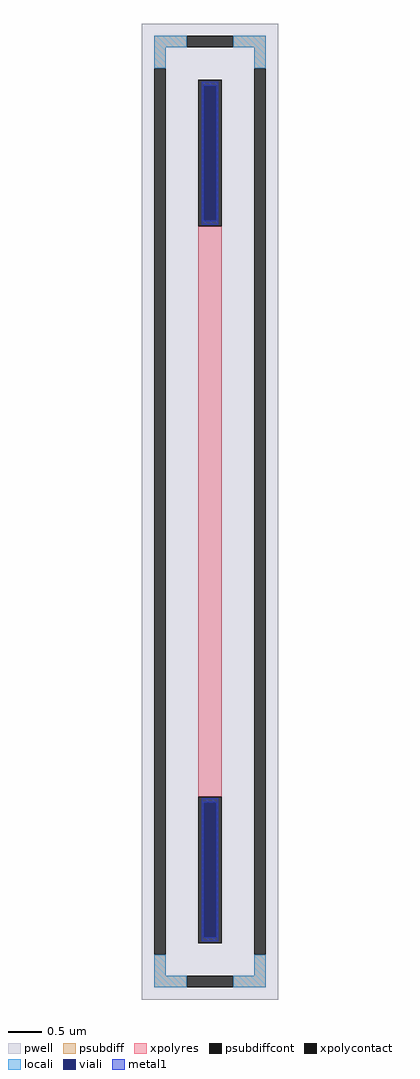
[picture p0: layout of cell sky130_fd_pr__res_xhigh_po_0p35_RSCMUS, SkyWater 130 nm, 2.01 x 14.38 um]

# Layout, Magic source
magic
tech sky130A
magscale 1 2
<< pwell >>
rect -201 -1438 201 1438
<< psubdiff >>
rect -165 1368 -69 1402
rect 69 1368 165 1402
rect -165 1306 -131 1368
rect 131 1306 165 1368
rect -165 -1368 -131 -1306
rect 131 -1368 165 -1306
rect -165 -1402 -69 -1368
rect 69 -1402 165 -1368
<< psubdiffcont >>
rect -69 1368 69 1402
rect -165 -1306 -131 1306
rect 131 -1306 165 1306
rect -69 -1402 69 -1368
<< xpolycontact >>
rect -35 840 35 1272
rect -35 -1272 35 -840
<< xpolyres >>
rect -35 -840 35 840
<< locali >>
rect -165 1368 -69 1402
rect 69 1368 165 1402
rect -165 1306 -131 1368
rect 131 1306 165 1368
rect -165 -1368 -131 -1306
rect 131 -1368 165 -1306
rect -165 -1402 -69 -1368
rect 69 -1402 165 -1368
<< viali >>
rect -19 857 19 1254
rect -19 -1254 19 -857
<< metal1 >>
rect -25 1254 25 1266
rect -25 857 -19 1254
rect 19 857 25 1254
rect -25 845 25 857
rect -25 -857 25 -845
rect -25 -1254 -19 -857
rect 19 -1254 25 -857
rect -25 -1266 25 -1254
<< properties >>
string FIXED_BBOX -148 -1385 148 1385
string gencell sky130_fd_pr__res_xhigh_po_0p35
string library sky130
string parameters w 0.350 l 8.562 m 1 nx 1 wmin 0.350 lmin 0.50 rho 2000 val 50.001k dummy 0 dw 0.0 term 188.2 sterm 0.0 caplen 0 wmax 0.350 guard 1 glc 1 grc 1 gtc 1 gbc 1 compatible {sky130_fd_pr__res_xhigh_po_0p35  sky130_fd_pr__res_xhigh_po_0p69 sky130_fd_pr__res_xhigh_po_1p41  sky130_fd_pr__res_xhigh_po_2p85 sky130_fd_pr__res_xhigh_po_5p73} snake 0 full_metal 1 n_guard 0 hv_guard 0 vias 1 viagb 0 viagt 0 viagl 0 viagr 0
<< end >>
